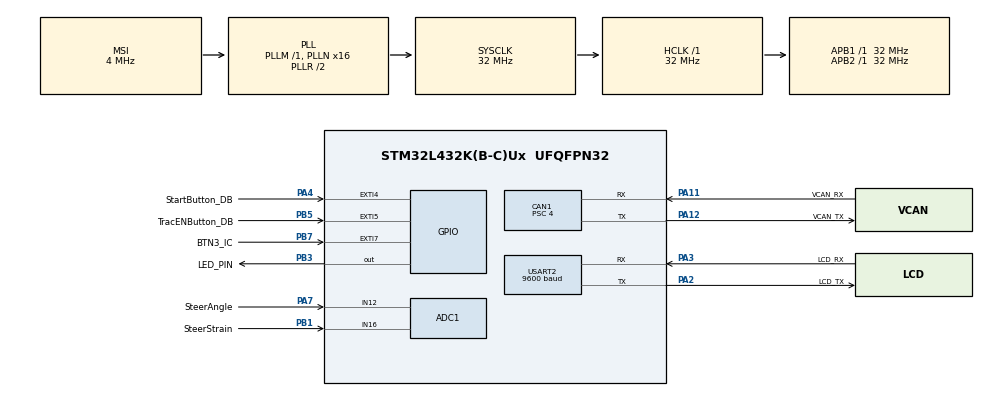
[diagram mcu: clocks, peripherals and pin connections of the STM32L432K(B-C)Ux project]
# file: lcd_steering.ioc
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ADC1.Channel-3\#ChannelRegularConversion=ADC_CHANNEL_12
ADC1.Channel-4\#ChannelRegularConversion=ADC_CHANNEL_16
ADC1.ClockPrescaler=ADC_CLOCK_ASYNC_DIV4
ADC1.ContinuousConvMode=ENABLE
ADC1.NbrOfConversion=2
ADC1.NbrOfConversionFlag=1
ADC1.OffsetNumber-3\#ChannelRegularConversion=ADC_OFFSET_NONE
ADC1.OffsetNumber-4\#ChannelRegularConversion=ADC_OFFSET_NONE
ADC1.Rank-3\#ChannelRegularConversion=1
ADC1.Rank-4\#ChannelRegularConversion=2
ADC1.SamplingTime-3\#ChannelRegularConversion=ADC_SAMPLETIME_247CYCLES_5
ADC1.SamplingTime-4\#ChannelRegularConversion=ADC_SAMPLETIME_247CYCLES_5
ADC1.master=1
CAN1.ABOM=ENABLE
CAN1.AWUM=DISABLE
CAN1.BS1=CAN_BS1_9TQ
CAN1.BS2=CAN_BS2_6TQ
CAN1.CalculateBaudRate=500000
CAN1.CalculateTimeBit=2000.00
CAN1.CalculateTimeQuantum=125.0
CAN1.Prescaler=4
Mcu.Family=STM32L4
Mcu.Name=STM32L432K(B-C)Ux
Mcu.Package=UFQFPN32
NVIC.CAN1_RX0_IRQn=true\:5\:0\:true\:false\:true\:true\:true
NVIC.CAN1_RX1_IRQn=true\:5\:0\:true\:false\:true\:true\:true
NVIC.CAN1_TX_IRQn=true\:5\:0\:true\:false\:true\:true\:true
NVIC.EXTI4_IRQn=true\:0\:0\:false\:false\:true\:true\:true
NVIC.EXTI9_5_IRQn=true\:0\:0\:false\:false\:true\:true\:true
NVIC.PriorityGroup=NVIC_PRIORITYGROUP_4
NVIC.TIM1_UP_TIM16_IRQn=true\:0\:0\:false\:false\:true\:false\:true
NVIC.TimeBase=TIM1_UP_TIM16_IRQn
NVIC.TimeBaseIP=TIM1
NVIC.USART2_IRQn=true\:0\:0\:false\:false\:true\:true\:true
PA0.Signal=RCC_CK_IN
PA11.GPIO_Label=VCAN_RX
PA11.Mode=CAN_Activate
PA11.Signal=CAN1_RX
PA12.GPIO_Label=VCAN_TX
PA12.Mode=CAN_Activate
PA12.Signal=CAN1_TX
PA13\ (JTMS-SWDIO).Mode=Serial_Wire
PA13\ (JTMS-SWDIO).Signal=SYS_JTMS-SWDIO
PA14\ (JTCK-SWCLK).Mode=Serial_Wire
PA14\ (JTCK-SWCLK).Signal=SYS_JTCK-SWCLK
PA2.GPIO_Label=LCD_TX
PA2.Mode=Asynchronous
PA2.Signal=USART2_TX
PA3.GPIO_Label=LCD_RX
PA3.Mode=Asynchronous
PA3.Signal=USART2_RX
PA4.GPIO_Label=StartButton_DB
PA4.Signal=GPXTI4
PA7.GPIO_Label=SteerAngle
PA7.Signal=ADCx_IN12
PB0.GPIO_Label=Strain_Ref
PB0.Signal=ADCx_IN15
PB1.GPIO_Label=SteerStrain
PB1.Signal=ADCx_IN16
PB3\ (JTDO-TRACESWO).GPIO_Label=LED_PIN
PB3\ (JTDO-TRACESWO).Signal=GPIO_Output
PB5.GPIO_Label=TracENButton_DB
PB5.Signal=GPXTI5
PB7.GPIO_Label=BTN3_IC
PB7.Signal=GPXTI7
PC14-OSC32_IN\ (PC14).Signal=RCC_OSC32_IN
PC15-OSC32_OUT\ (PC15).Signal=RCC_OSC32_OUT
ProjectManager.HeapSize=0x200
ProjectManager.StackSize=0x400
ProjectManager.TargetToolchain=SW4STM32
RCC.ADCFreq_Value=32000000
RCC.AHBFreq_Value=32000000
RCC.APB1Freq_Value=32000000
RCC.APB1TimFreq_Value=32000000
RCC.APB2Freq_Value=32000000
RCC.APB2TimFreq_Value=32000000
RCC.CortexFreq_Value=32000000
RCC.HCLKFreq_Value=32000000
RCC.HSE_VALUE=8000000
RCC.HSI48_VALUE=48000000
RCC.HSI_VALUE=16000000
RCC.LSE_VALUE=32768
RCC.MSI_VALUE=4000000
RCC.PLLN=16
RCC.PLLSAI1N=16
RCC.SYSCLKFreq_VALUE=32000000
RCC.SYSCLKSource=RCC_SYSCLKSOURCE_PLLCLK
RCC.USBFreq_Value=32000000
RCC.VCOOutputFreq_Value=64000000
SH.ADCx_IN12.0=ADC1_IN12,IN12-Single-Ended
SH.ADCx_IN15.0=ADC1_IN15
SH.ADCx_IN16.0=ADC1_IN16,IN16-Single-Ended
USART2.BaudRate=9600
USART2.SwapParam=ADVFEATURE_SWAP_ENABLE
USART2.VirtualMode-Asynchronous=VM_ASYNC
VP_SYS_VS_tim1.Mode=TIM1
board=custom

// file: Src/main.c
/* USER CODE BEGIN Header */
/**
  ******************************************************************************
  * @file           : main.c
  * @brief          : Main program body
  ******************************************************************************
  * @attention
  *
  * <h2><center>&copy; Copyright (c) 2020 STMicroelectronics.
  * All rights reserved.</center></h2>
  *
  * This software component is licensed by ST under Ultimate Liberty license
  * SLA0044, the "License"; You may not use this file except in compliance with
  * the License. You may obtain a copy of the License at:
  *                             www.st.com/SLA0044
  *
  ******************************************************************************
  */
/* USER CODE END Header */
#include "main.h"

/* USER CODE BEGIN Includes */
#include "can_usr.h"
#include "stm32l4xx_hal_uart.h"
/* USER CODE END Includes */

ADC_HandleTypeDef hadc1;

CAN_HandleTypeDef hcan1;

UART_HandleTypeDef huart2;

/* USER CODE BEGIN PV */
/* Private variables ---------------------------------------------------------*/
uint8_t myrx_data[RX_SIZE_UART];
extern uint32_t START_Debounce;
/* USER CODE END PV */

void SystemClock_Config(void);
static void MX_GPIO_Init(void);
static void MX_CAN1_Init(void);
static void MX_ADC1_Init(void);
static void MX_USART2_UART_Init(void);
/* USER CODE BEGIN PFP */
/* Private function prototypes -----------------------------------------------*/

/* USER CODE END PFP */

/* USER CODE BEGIN 0 */
uint8_t run;
uint16_t loop;

void TIM2_IRQHandler()
{
    TIM2->SR &= ~TIM_SR_UIF;                                        // Acknowledge the interrupt
    run = 1;                                                        // Signal main loop to process
    if (loop++ > 50000)                                             // Wrap when close to max to prevent jitter
    {
        loop = 0;                                                   // Reset loop value
    }
}
/* USER CODE END 0 */

int main(void)
{

  /* MCU Configuration--------------------------------------------------------*/

  /* Reset of all peripherals, Initializes the Flash interface and the Systick. */
  HAL_Init();

  /* Configure the system clock */
  SystemClock_Config();

  /* USER CODE BEGIN SysInit */
  HAL_Delay(DELAY_STARTUP);

  /* USER CODE END SysInit */

  /* Initialize all configured peripherals */
  MX_GPIO_Init();
  MX_CAN1_Init();
  MX_ADC1_Init();
  MX_USART2_UART_Init();
  /* USER CODE BEGIN 2 */

  HAL_Delay(DELAY_UART);

  can_filter_init(&hcan1);
  HAL_Delay(DELAY_UART);
  HAL_CAN_Start(&hcan1);

//  __HAL_UART_ENABLE_IT(&huart1, UART_IT_TC);
//  __HAL_UART_ENABLE_IT(&huart1, UART_IT_RXNE);

  HAL_CAN_ActivateNotification(&hcan1, CAN_IT_RX_FIFO0_MSG_PENDING);
  HAL_CAN_ActivateNotification(&hcan1, CAN_IT_RX_FIFO1_MSG_PENDING);

  loop = 0;
  run = 0;
  HAL_Delay(4300);
  initLcd(); // sets up queues and timers
  HAL_UART_Receive_IT(lcd.uart, myrx_data, RX_SIZE_UART); //start the receive

  /* USER CODE END 2 */

  /* Infinite loop */
  /* USER CODE BEGIN WHILE */
  while (PER == GREAT)
  {
    /* USER CODE END WHILE */

    /* USER CODE BEGIN 3 */
    START_Debounce = START_Debounce > 0 ? START_Debounce - 1 : 0;

    while (lcd.q_rx_can.item_count != 0)
    {
      processCAN();
    }
    task_lcd_main();
    if (loop % TX_CAN_RATE == 0)
    {
      task_txCan();
    }
    if (loop % STEER_RATE == 0)
    {
      //taskPollSteer();
      task_txUart();
    }
    if (loop % 10 == 0)
    {
      task_lcd_help();
    }

    while (!run); // loop is ran every 1 ms
    run = 0;
  }
  /* USER CODE END 3 */
}

void SystemClock_Config(void)
{
  RCC_OscInitTypeDef RCC_OscInitStruct = {0};
  RCC_ClkInitTypeDef RCC_ClkInitStruct = {0};
  RCC_PeriphCLKInitTypeDef PeriphClkInit = {0};

  /** Initializes the RCC Oscillators according to the specified parameters
  * in the RCC_OscInitTypeDef structure.
  */
  RCC_OscInitStruct.OscillatorType = RCC_OSCILLATORTYPE_MSI;
  RCC_OscInitStruct.MSIState = RCC_MSI_ON;
  RCC_OscInitStruct.MSICalibrationValue = 0;
  RCC_OscInitStruct.MSIClockRange = RCC_MSIRANGE_6;
  RCC_OscInitStruct.PLL.PLLState = RCC_PLL_ON;
  RCC_OscInitStruct.PLL.PLLSource = RCC_PLLSOURCE_MSI;
  RCC_OscInitStruct.PLL.PLLM = 1;
  RCC_OscInitStruct.PLL.PLLN = 16;
  RCC_OscInitStruct.PLL.PLLP = RCC_PLLP_DIV7;
  RCC_OscInitStruct.PLL.PLLQ = RCC_PLLQ_DIV2;
  RCC_OscInitStruct.PLL.PLLR = RCC_PLLR_DIV2;
  if (HAL_RCC_OscConfig(&RCC_OscInitStruct) != HAL_OK)
  {
    Error_Handler();
  }
  /** Initializes the CPU, AHB and APB buses clocks
  */
  RCC_ClkInitStruct.ClockType = RCC_CLOCKTYPE_HCLK|RCC_CLOCKTYPE_SYSCLK
                              |RCC_CLOCKTYPE_PCLK1|RCC_CLOCKTYPE_PCLK2;
  RCC_ClkInitStruct.SYSCLKSource = RCC_SYSCLKSOURCE_PLLCLK;
  RCC_ClkInitStruct.AHBCLKDivider = RCC_SYSCLK_DIV1;
  RCC_ClkInitStruct.APB1CLKDivider = RCC_HCLK_DIV1;
  RCC_ClkInitStruct.APB2CLKDivider = RCC_HCLK_DIV1;

  if (HAL_RCC_ClockConfig(&RCC_ClkInitStruct, FLASH_LATENCY_1) != HAL_OK)
  {
    Error_Handler();
  }
  PeriphClkInit.PeriphClockSelection = RCC_PERIPHCLK_USART2|RCC_PERIPHCLK_ADC;
  PeriphClkInit.Usart2ClockSelection = RCC_USART2CLKSOURCE_PCLK1;
  PeriphClkInit.AdcClockSelection = RCC_ADCCLKSOURCE_PLLSAI1;
  PeriphClkInit.PLLSAI1.PLLSAI1Source = RCC_PLLSOURCE_MSI;
  PeriphClkInit.PLLSAI1.PLLSAI1M = 1;
  PeriphClkInit.PLLSAI1.PLLSAI1N = 16;
  PeriphClkInit.PLLSAI1.PLLSAI1P = RCC_PLLP_DIV7;
  PeriphClkInit.PLLSAI1.PLLSAI1Q = RCC_PLLQ_DIV2;
  PeriphClkInit.PLLSAI1.PLLSAI1R = RCC_PLLR_DIV2;
  PeriphClkInit.PLLSAI1.PLLSAI1ClockOut = RCC_PLLSAI1_ADC1CLK;
  if (HAL_RCCEx_PeriphCLKConfig(&PeriphClkInit) != HAL_OK)
  {
    Error_Handler();
  }
  /** Configure the main internal regulator output voltage
  */
  if (HAL_PWREx_ControlVoltageScaling(PWR_REGULATOR_VOLTAGE_SCALE1) != HAL_OK)
  {
    Error_Handler();
  }
}

static void MX_ADC1_Init(void)
{

  ADC_ChannelConfTypeDef sConfig = {0};

  /** Common config
  */
  hadc1.Instance = ADC1;
  hadc1.Init.ClockPrescaler = ADC_CLOCK_ASYNC_DIV4;
  hadc1.Init.Resolution = ADC_RESOLUTION_12B;
  hadc1.Init.DataAlign = ADC_DATAALIGN_RIGHT;
  hadc1.Init.ScanConvMode = ADC_SCAN_ENABLE;
  hadc1.Init.EOCSelection = ADC_EOC_SINGLE_CONV;
  hadc1.Init.LowPowerAutoWait = DISABLE;
  hadc1.Init.ContinuousConvMode = ENABLE;
  hadc1.Init.NbrOfConversion = 2;
  hadc1.Init.DiscontinuousConvMode = DISABLE;
  hadc1.Init.ExternalTrigConv = ADC_SOFTWARE_START;
  hadc1.Init.ExternalTrigConvEdge = ADC_EXTERNALTRIGCONVEDGE_NONE;
  hadc1.Init.DMAContinuousRequests = DISABLE;
  hadc1.Init.Overrun = ADC_OVR_DATA_PRESERVED;
  hadc1.Init.OversamplingMode = DISABLE;
  if (HAL_ADC_Init(&hadc1) != HAL_OK)
  {
    Error_Handler();
  }
  /** Configure Regular Channel
  */
  sConfig.Channel = ADC_CHANNEL_12;
  sConfig.Rank = ADC_REGULAR_RANK_1;
  sConfig.SamplingTime = ADC_SAMPLETIME_247CYCLES_5;
  sConfig.SingleDiff = ADC_SINGLE_ENDED;
  sConfig.OffsetNumber = ADC_OFFSET_NONE;
  sConfig.Offset = 0;
  if (HAL_ADC_ConfigChannel(&hadc1, &sConfig) != HAL_OK)
  {
    Error_Handler();
  }
  /** Configure Regular Channel
  */
  sConfig.Channel = ADC_CHANNEL_16;
  sConfig.Rank = ADC_REGULAR_RANK_2;
  if (HAL_ADC_ConfigChannel(&hadc1, &sConfig) != HAL_OK)
  {
    Error_Handler();
  }

}

static void MX_CAN1_Init(void)
{

  hcan1.Instance = CAN1;
  hcan1.Init.Prescaler = 4;
  hcan1.Init.Mode = CAN_MODE_NORMAL;
  hcan1.Init.SyncJumpWidth = CAN_SJW_1TQ;
  hcan1.Init.TimeSeg1 = CAN_BS1_9TQ;
  hcan1.Init.TimeSeg2 = CAN_BS2_6TQ;
  hcan1.Init.TimeTriggeredMode = DISABLE;
  hcan1.Init.AutoBusOff = ENABLE;
  hcan1.Init.AutoWakeUp = DISABLE;
  hcan1.Init.AutoRetransmission = DISABLE;
  hcan1.Init.ReceiveFifoLocked = DISABLE;
  hcan1.Init.TransmitFifoPriority = DISABLE;
  if (HAL_CAN_Init(&hcan1) != HAL_OK)
  {
    Error_Handler();
  }

}

static void MX_USART2_UART_Init(void)
{

  huart2.Instance = USART2;
  huart2.Init.BaudRate = 9600;
  huart2.Init.WordLength = UART_WORDLENGTH_8B;
  huart2.Init.StopBits = UART_STOPBITS_1;
  huart2.Init.Parity = UART_PARITY_NONE;
  huart2.Init.Mode = UART_MODE_TX_RX;
  huart2.Init.HwFlowCtl = UART_HWCONTROL_NONE;
  huart2.Init.OverSampling = UART_OVERSAMPLING_16;
  huart2.Init.OneBitSampling = UART_ONE_BIT_SAMPLE_DISABLE;
  huart2.AdvancedInit.AdvFeatureInit = UART_ADVFEATURE_SWAP_INIT;
  huart2.AdvancedInit.Swap = UART_ADVFEATURE_SWAP_ENABLE;
  if (HAL_UART_Init(&huart2) != HAL_OK)
  {
    Error_Handler();
  }

}

static void MX_GPIO_Init(void)
{
  GPIO_InitTypeDef GPIO_InitStruct = {0};

  /* GPIO Ports Clock Enable */
  __HAL_RCC_GPIOC_CLK_ENABLE();
  __HAL_RCC_GPIOA_CLK_ENABLE();
  __HAL_RCC_GPIOB_CLK_ENABLE();

  /*Configure GPIO pin Output Level */
  HAL_GPIO_WritePin(LED_PIN_GPIO_Port, LED_PIN_Pin, GPIO_PIN_RESET);

  /*Configure GPIO pin : StartButton_DB_Pin */
  GPIO_InitStruct.Pin = StartButton_DB_Pin;
  GPIO_InitStruct.Mode = GPIO_MODE_IT_RISING;
  GPIO_InitStruct.Pull = GPIO_NOPULL;
  HAL_GPIO_Init(StartButton_DB_GPIO_Port, &GPIO_InitStruct);

  /*Configure GPIO pin : LED_PIN_Pin */
  GPIO_InitStruct.Pin = LED_PIN_Pin;
  GPIO_InitStruct.Mode = GPIO_MODE_OUTPUT_PP;
  GPIO_InitStruct.Pull = GPIO_NOPULL;
  GPIO_InitStruct.Speed = GPIO_SPEED_FREQ_LOW;
  HAL_GPIO_Init(LED_PIN_GPIO_Port, &GPIO_InitStruct);

  /*Configure GPIO pins : TracENButton_DB_Pin BTN3_IC_Pin */
  GPIO_InitStruct.Pin = TracENButton_DB_Pin|BTN3_IC_Pin;
  GPIO_InitStruct.Mode = GPIO_MODE_IT_RISING;
  GPIO_InitStruct.Pull = GPIO_NOPULL;
  HAL_GPIO_Init(GPIOB, &GPIO_InitStruct);

  /* EXTI interrupt init*/
  HAL_NVIC_SetPriority(EXTI4_IRQn, 0, 0);
  HAL_NVIC_EnableIRQ(EXTI4_IRQn);

  HAL_NVIC_SetPriority(EXTI9_5_IRQn, 0, 0);
  HAL_NVIC_EnableIRQ(EXTI9_5_IRQn);

}

 /**
  * @brief  Period elapsed callback in non blocking mode
  * @note   This function is called  when TIM1 interrupt took place, inside
  * HAL_TIM_IRQHandler(). It makes a direct call to HAL_IncTick() to increment
  * a global variable "uwTick" used as application time base.
  * @param  htim : TIM handle
  * @retval None
  */
void HAL_TIM_PeriodElapsedCallback(TIM_HandleTypeDef *htim)
{
  if (htim->Instance == TIM1) {
    HAL_IncTick();
  }
}

void Error_Handler(void)
{
  while(1)
  {
  }
}

/************************ (C) COPYRIGHT STMicroelectronics *****END OF FILE****/
